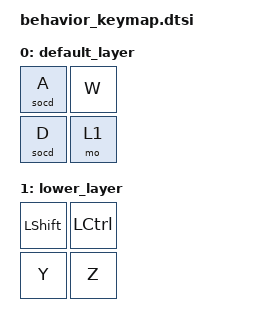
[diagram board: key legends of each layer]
#include <behaviors.dtsi>
#include <behaviors/socd.dtsi>
#include <dt-bindings/zmk/keys.h>
#include <dt-bindings/zmk/kscan_mock.h>

/ {
    keymap {
        compatible = "zmk,keymap";

        default_layer {
            bindings = <
                &socd A &kp W
                &socd D &mo 1>;
        };

        lower_layer {
            bindings = <
                &kp LEFT_SHIFT &kp LEFT_CONTROL
                &kp Y  &kp Z>;
        };
    };
};
